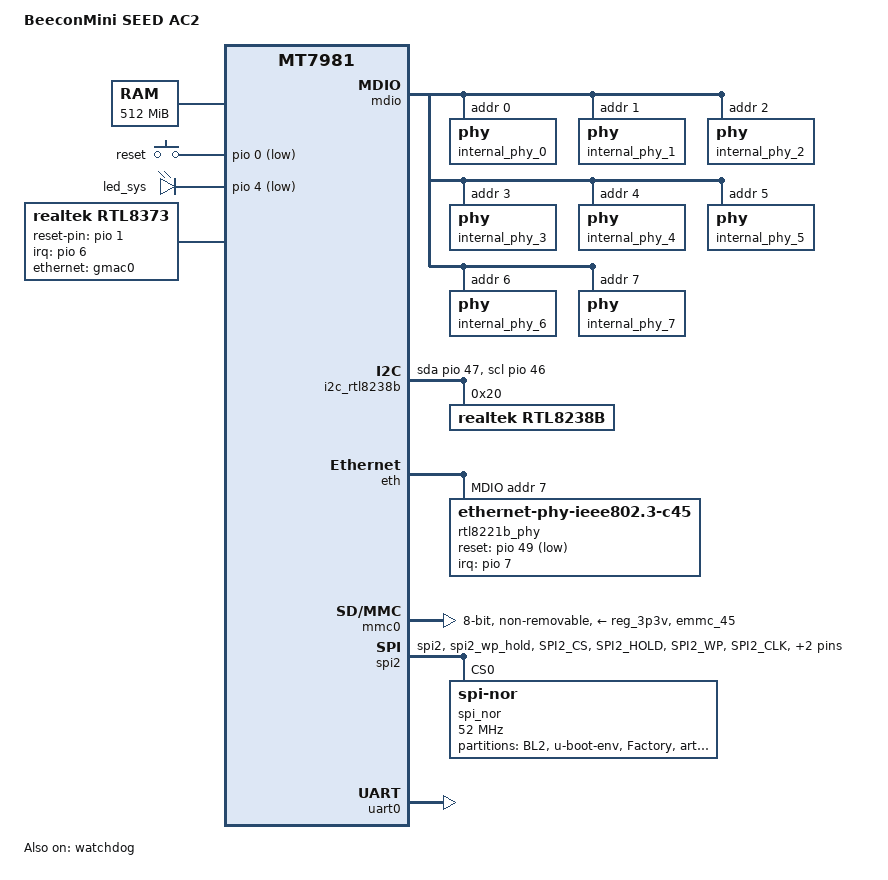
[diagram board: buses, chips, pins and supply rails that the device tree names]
// SPDX-License-Identifier: GPL-2.0-or-later OR MIT

/dts-v1/;
#include <dt-bindings/gpio/gpio.h>
#include <dt-bindings/input/input.h>

#include "mt7981.dtsi"

/ {
	model = "BeeconMini SEED AC2";
	compatible = "beeconmini,seed-ac2", "mediatek,mt7981";

	aliases {
		serial0 = &uart0;
		led-boot = &led_sys;
		led-failsafe = &led_sys;
		led-running = &led_sys;
		led-upgrade = &led_sys;
		ethernet0 = &gmac0;
		ethernet1 = &gmac1;
	};

	chosen {
		stdout-path = "serial0:115200n8";
		bootargs = "root=PARTLABEL=rootfs rootfstype=squashfs,f2fs rootwait fstools_partname_fallback_scan=1";
	};

	memory {
		reg = <0 0x40000000 0 0x20000000>;
	};

	gpio-keys {
		compatible = "gpio-keys";

		reset {
			label = "reset";
			linux,code = <KEY_RESTART>;
			gpios = <&pio 0 GPIO_ACTIVE_LOW>;
		};
	};

	leds {
		compatible = "gpio-leds";

		led_sys: led_sys {
			label = "led_sys";
			gpios = <&pio 4 GPIO_ACTIVE_LOW>;
		};
	};

	rtl8373 {
		compatible = "realtek,rtl8373";
		mediatek,mdio = <&mdio_bus>;
		mediatek,reset-pin = <&pio 1 GPIO_ACTIVE_HIGH>;
		interrupt-parent = <&pio>;
		interrupts = <6 IRQ_TYPE_LEVEL_LOW>;
		status = "okay";

		ports {
			#address-cells = <1>;
			#size-cells = <0>;

			port@0 {
				reg = <0>;
				label = "lan1";
				phy-mode = "internal";
				phy-handle = <&internal_phy_0>;
			};

			port@1 {
				reg = <1>;
				label = "lan2";
				phy-mode = "internal";
				phy-handle = <&internal_phy_1>;
			};

			port@2 {
				reg = <2>;
				label = "lan3";
				phy-mode = "internal";
				phy-handle = <&internal_phy_2>;
			};

			port@3 {
				reg = <3>;
				label = "lan4";
				phy-mode = "internal";
				phy-handle = <&internal_phy_3>;
			};

			port@4 {
				reg = <4>;
				label = "lan5";
				phy-mode = "internal";
				phy-handle = <&internal_phy_4>;
			};

			port@5 {
				reg = <5>;
				label = "lan6";
				phy-mode = "internal";
				phy-handle = <&internal_phy_5>;
			};

			port@6 {
				reg = <6>;
				label = "lan7";
				phy-mode = "internal";
				phy-handle = <&internal_phy_6>;
			};

			port@7 {
				reg = <7>;
				label = "lan8";
				phy-mode = "internal";
				phy-handle = <&internal_phy_7>;
			};

			port@8 {
				reg = <8>;
				label = "cpu";
				ethernet = <&gmac0>;
				phy-mode = "2500base-x";

				fixed-link {
					speed = <2500>;
					full-duplex;
					pause;
				};
			};
		};

		mdio {
			#address-cells = <1>;
			#size-cells = <0>;

			internal_phy_0: phy@0 {
				reg = <0>;
				phy-mode = "internal";
			};

			internal_phy_1: phy@1 {
				reg = <1>;
				phy-mode = "internal";
			};

			internal_phy_2: phy@2 {
				reg = <2>;
				phy-mode = "internal";
			};

			internal_phy_3: phy@3 {
				reg = <3>;
				phy-mode = "internal";
			};

			internal_phy_4: phy@4 {
				reg = <4>;
				phy-mode = "internal";
			};

			internal_phy_5: phy@5 {
				reg = <5>;
				phy-mode = "internal";
			};

			internal_phy_6: phy@6 {
				reg = <6>;
				phy-mode = "internal";
			};

			internal_phy_7: phy@7 {
				reg = <7>;
				phy-mode = "internal";
			};
		};
	};

	i2c_rtl8238b {
		compatible = "i2c-gpio";
		sda-gpios = <&pio 47 (GPIO_ACTIVE_HIGH | GPIO_OPEN_DRAIN)>;
		scl-gpios = <&pio 46 (GPIO_ACTIVE_HIGH | GPIO_OPEN_DRAIN)>;
		i2c-gpio,delay-us = <2>;
		#address-cells = <1>;
		#size-cells = <0>;

		rtl8238b: rtl8238b@20 {
			compatible = "realtek,rtl8238b";
			reg = <0x20>;
		};
	};
};

&sgmiisys0 {
	/delete-property/ mediatek,pnswap;
};

&eth {
	status = "okay";

	gmac0: mac@0 {
		compatible = "mediatek,eth-mac";
		reg = <0>;
		phy-mode = "2500base-x";

		fixed-link {
			speed = <2500>;
			full-duplex;
			pause;
		};
	};

	gmac1: mac@1 {
		compatible = "mediatek,eth-mac";
		reg = <1>;
		phy-mode = "2500base-x";
		phy-handle = <&rtl8221b_phy>;
	};

	mdio-bus {
		#address-cells = <1>;
		#size-cells = <0>;

		rtl8221b_phy: ethernet-phy@7 {
			compatible = "ethernet-phy-ieee802.3-c45";
			reg = <7>;
			reset-gpios = <&pio 49 GPIO_ACTIVE_LOW>;
			interrupt-parent = <&pio>;
			interrupts = <7 IRQ_TYPE_LEVEL_LOW>;
			reset-assert-us = <100000>;
			reset-deassert-us = <100000>;
			realtek,led-link-select = <0x0 0x07 0x20>;
		};
	};
};

&mmc0 {
	max-frequency = <26000000>;
	no-sd;
	no-sdio;
	pinctrl-names = "default", "state_uhs";
	pinctrl-0 = <&mmc0_pins_default>;
	pinctrl-1 = <&mmc0_pins_uhs>;
	vmmc-supply = <&reg_3p3v>;
	non-removable;
	status = "okay";
	bus-width = <8>;
};

&spi1 {
	pinctrl-names = "default";
	pinctrl-0 = <&spic_pins>;
	status = "disabled";
};

&spi2 {
	pinctrl-names = "default";
	pinctrl-0 = <&spi2_flash_pins>;
	status = "okay";

	spi_nor@0 {
		#address-cells = <1>;
		#size-cells = <1>;
		compatible = "jedec,spi-nor";
		reg = <0>;
		spi-max-frequency = <52000000>;
		spi-tx-buswidth = <4>;
		spi-rx-buswidth = <4>;

		partition@00000 {
			label = "BL2";
			reg = <0x00000 0x0040000>;
		};

		partition@40000 {
			label = "u-boot-env";
			reg = <0x40000 0x0010000>;
		};

		partition@50000 {
			label = "Factory";
			reg = <0x50000 0x00A0000>;
		};

		partition@F0000 {
			label = "art";
			reg = <0xF0000 0x0010000>;
		};

		partition@100000 {
			label = "FIP";
			reg = <0x100000 0x0200000>;
		};
	};
};

&pio {
	spic_pins: spi1-pins {
		mux {
			function = "spi";
			groups = "spi1_1";
		};
	};

	spi2_flash_pins: spi2-pins {
		mux {
			function = "spi";
			groups = "spi2", "spi2_wp_hold";
		};

		conf-pu {
			pins = "SPI2_CS", "SPI2_HOLD", "SPI2_WP";
			drive-strength = <MTK_DRIVE_8mA>;
			bias-pull-up = <MTK_PUPD_SET_R1R0_11>;
		};

		conf-pd {
			pins = "SPI2_CLK", "SPI2_MOSI", "SPI2_MISO";
			drive-strength = <MTK_DRIVE_8mA>;
			bias-pull-down = <MTK_PUPD_SET_R1R0_11>;
		};
	};

	mmc0_pins_default: mmc0-pins-default {
		mux {
			function = "flash";
			groups = "emmc_45";
		};
	};

	mmc0_pins_uhs: mmc0-pins-uhs {
		mux {
			function = "flash";
			groups = "emmc_45";
		};
	};
};

&uart0 {
	status = "okay";
};

&watchdog {
	status = "okay";
};
